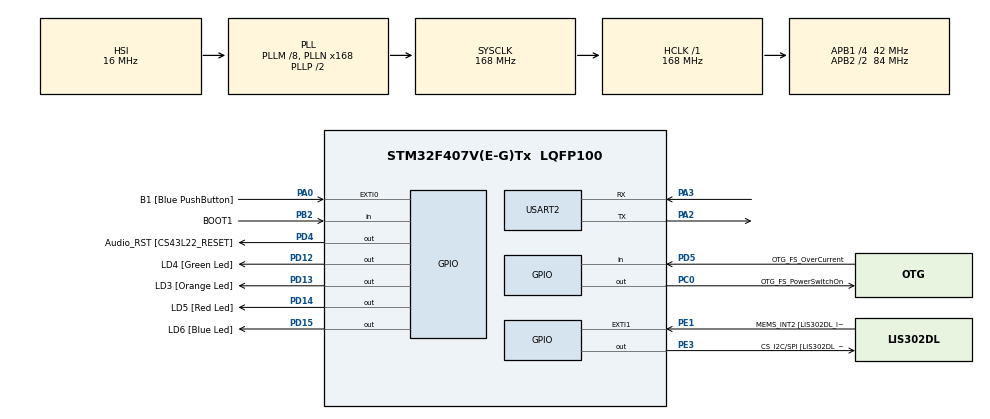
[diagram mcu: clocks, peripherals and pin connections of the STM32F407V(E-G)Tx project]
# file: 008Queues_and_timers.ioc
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Mcu.Family=STM32F4
Mcu.Name=STM32F407V(E-G)Tx
Mcu.Package=LQFP100
NVIC.PriorityGroup=NVIC_PRIORITYGROUP_4
NVIC.TIM6_DAC_IRQn=true\:0\:0\:false\:false\:true\:false\:true
NVIC.TimeBase=TIM6_DAC_IRQn
NVIC.TimeBaseIP=TIM6
NVIC.USART2_IRQn=true\:6\:0\:true\:false\:true\:true\:true
PA0-WKUP.GPIO_Label=B1 [Blue PushButton]
PA0-WKUP.Signal=GPXTI0
PA10.GPIO_Label=OTG_FS_ID
PA10.GPIO_Mode=GPIO_MODE_AF_PP
PA10.GPIO_PuPd=GPIO_NOPULL
PA10.GPIO_Speed=GPIO_SPEED_FREQ_LOW
PA10.Signal=USB_OTG_FS_ID
PA11.GPIO_Label=OTG_FS_DM
PA11.GPIO_Mode=GPIO_MODE_AF_PP
PA11.GPIO_PuPd=GPIO_NOPULL
PA11.GPIO_Speed=GPIO_SPEED_FREQ_LOW
PA11.Signal=USB_OTG_FS_DM
PA12.GPIO_Label=OTG_FS_DP
PA12.GPIO_Mode=GPIO_MODE_AF_PP
PA12.GPIO_PuPd=GPIO_NOPULL
PA12.GPIO_Speed=GPIO_SPEED_FREQ_LOW
PA12.Signal=USB_OTG_FS_DP
PA13.GPIO_Label=SWDIO
PA13.Signal=SYS_JTMS-SWDIO
PA14.GPIO_Label=SWCLK
PA14.Signal=SYS_JTCK-SWCLK
PA2.Mode=Asynchronous
PA2.Signal=USART2_TX
PA3.Mode=Asynchronous
PA3.Signal=USART2_RX
PA4.GPIO_Label=I2S3_WS [CS43L22_LRCK]
PA4.GPIO_Mode=GPIO_MODE_AF_PP
PA4.GPIO_PuPd=GPIO_NOPULL
PA4.GPIO_Speed=GPIO_SPEED_FREQ_LOW
PA4.Signal=I2S3_WS
PA5.GPIO_Label=SPI1_SCK [LIS302DL_SCL/SPC]
PA5.GPIO_Mode=GPIO_MODE_AF_PP
PA5.GPIO_PuPd=GPIO_NOPULL
PA5.GPIO_Speed=GPIO_SPEED_FREQ_LOW
PA5.Signal=SPI1_SCK
PA6.GPIO_Label=SPI1_MISO [LIS302DL_SDO]
PA6.GPIO_Mode=GPIO_MODE_AF_PP
PA6.GPIO_PuPd=GPIO_NOPULL
PA6.GPIO_Speed=GPIO_SPEED_FREQ_LOW
PA6.Signal=SPI1_MISO
PA7.GPIO_Label=SPI1_MOSI [LIS302DL_SDA/SDI/SDO]
PA7.GPIO_Mode=GPIO_MODE_AF_PP
PA7.GPIO_PuPd=GPIO_NOPULL
PA7.GPIO_Speed=GPIO_SPEED_FREQ_LOW
PA7.Signal=SPI1_MOSI
PA9.GPIO_Label=VBUS_FS
PA9.GPIO_Mode=GPIO_MODE_INPUT
PA9.GPIO_PuPd=GPIO_NOPULL
PA9.Signal=USB_OTG_FS_VBUS
PB10.GPIO_Label=CLK_IN [MP45DT02_CLK]
PB10.GPIO_Mode=GPIO_MODE_AF_PP
PB10.GPIO_PuPd=GPIO_NOPULL
PB10.GPIO_Speed=GPIO_SPEED_FREQ_LOW
PB10.Signal=I2S2_CK
PB2.GPIO_Label=BOOT1
PB2.GPIO_Mode=GPIO_MODE_INPUT
PB2.GPIO_PuPd=GPIO_NOPULL
PB2.Signal=GPIO_Input
PB3.GPIO_Label=SWO
PB3.Signal=SYS_JTDO-SWO
PB6.GPIO_Label=Audio_SCL [CS43L22_SCL]
PB6.GPIO_Mode=GPIO_MODE_AF_OD
PB6.GPIO_PuPd=GPIO_NOPULL
PB6.GPIO_Speed=GPIO_SPEED_FREQ_LOW
PB6.Signal=I2C1_SCL
PB9.GPIO_Label=Audio_SDA [CS43L22_SDA]
PB9.GPIO_Mode=GPIO_MODE_AF_OD
PB9.GPIO_PuPd=GPIO_NOPULL
PB9.GPIO_Speed=GPIO_SPEED_FREQ_LOW
PB9.Signal=I2C1_SDA
PC0.GPIO_Label=OTG_FS_PowerSwitchOn
PC0.GPIO_PuPd=GPIO_NOPULL
PC0.GPIO_Speed=GPIO_SPEED_FREQ_LOW
PC0.PinState=GPIO_PIN_SET
PC0.Signal=GPIO_Output
PC10.GPIO_Label=I2S3_SCK [CS43L22_SCLK]
PC10.GPIO_Mode=GPIO_MODE_AF_PP
PC10.GPIO_PuPd=GPIO_NOPULL
PC10.GPIO_Speed=GPIO_SPEED_FREQ_LOW
PC10.Signal=I2S3_CK
PC12.GPIO_Label=I2S3_SD [CS43L22_SDIN]
PC12.GPIO_Mode=GPIO_MODE_AF_PP
PC12.GPIO_PuPd=GPIO_NOPULL
PC12.GPIO_Speed=GPIO_SPEED_FREQ_LOW
PC12.Signal=I2S3_SD
PC14-OSC32_IN.GPIO_Label=PC14-OSC32_IN
PC14-OSC32_IN.Signal=RCC_OSC32_IN
PC15-OSC32_OUT.GPIO_Label=PC15-OSC32_OUT
PC15-OSC32_OUT.Signal=RCC_OSC32_OUT
PC3.GPIO_Label=PDM_OUT [MP45DT02_DOUT]
PC3.GPIO_Mode=GPIO_MODE_AF_PP
PC3.GPIO_PuPd=GPIO_NOPULL
PC3.GPIO_Speed=GPIO_SPEED_FREQ_LOW
PC3.Signal=I2S2_SD
PC7.GPIO_Label=I2S3_MCK [CS43L22_MCLK]
PC7.GPIO_Mode=GPIO_MODE_AF_PP
PC7.GPIO_PuPd=GPIO_NOPULL
PC7.GPIO_Speed=GPIO_SPEED_FREQ_LOW
PC7.Signal=I2S3_MCK
PD12.GPIO_Label=LD4 [Green Led]
PD12.GPIO_PuPd=GPIO_NOPULL
PD12.GPIO_Speed=GPIO_SPEED_FREQ_LOW
PD12.Signal=GPIO_Output
PD13.GPIO_Label=LD3 [Orange Led]
PD13.GPIO_PuPd=GPIO_NOPULL
PD13.GPIO_Speed=GPIO_SPEED_FREQ_LOW
PD13.Signal=GPIO_Output
PD14.GPIO_Label=LD5 [Red Led]
PD14.GPIO_PuPd=GPIO_NOPULL
PD14.GPIO_Speed=GPIO_SPEED_FREQ_LOW
PD14.Signal=GPIO_Output
PD15.GPIO_Label=LD6 [Blue Led]
PD15.GPIO_PuPd=GPIO_NOPULL
PD15.GPIO_Speed=GPIO_SPEED_FREQ_LOW
PD15.Signal=GPIO_Output
PD4.GPIO_Label=Audio_RST [CS43L22_RESET]
PD4.GPIO_PuPd=GPIO_NOPULL
PD4.GPIO_Speed=GPIO_SPEED_FREQ_LOW
PD4.Signal=GPIO_Output
PD5.GPIO_Label=OTG_FS_OverCurrent
PD5.GPIO_Mode=GPIO_MODE_INPUT
PD5.GPIO_PuPd=GPIO_NOPULL
PD5.Signal=GPIO_Input
PE1.GPIO_Label=MEMS_INT2 [LIS302DL_INT2]
PE1.GPIO_ModeDefaultEXTI=GPIO_MODE_EVT_RISING
PE1.GPIO_PuPd=GPIO_NOPULL
PE1.Signal=GPXTI1
PE3.GPIO_Label=CS_I2C/SPI [LIS302DL_CS_I2C/SPI]
PE3.GPIO_PuPd=GPIO_NOPULL
PE3.GPIO_Speed=GPIO_SPEED_FREQ_LOW
PE3.Signal=GPIO_Output
PH0-OSC_IN.GPIO_Label=PH0-OSC_IN
PH0-OSC_IN.Signal=RCC_OSC_IN
PH1-OSC_OUT.GPIO_Label=PH1-OSC_OUT
PH1-OSC_OUT.Signal=RCC_OSC_OUT
ProjectManager.HeapSize=0x200
ProjectManager.StackSize=0x400
ProjectManager.TargetToolchain=STM32CubeIDE
RCC.48MHZClocksFreq_Value=48000000
RCC.AHBFreq_Value=168000000
RCC.APB1CLKDivider=RCC_HCLK_DIV4
RCC.APB1Freq_Value=42000000
RCC.APB1TimFreq_Value=84000000
RCC.APB2CLKDivider=RCC_HCLK_DIV2
RCC.APB2Freq_Value=84000000
RCC.APB2TimFreq_Value=168000000
RCC.CortexFreq_Value=168000000
RCC.HCLKFreq_Value=168000000
RCC.HSE_VALUE=8000000
RCC.HSI_VALUE=16000000
RCC.LSE_VALUE=32768
RCC.PLLM=8
RCC.PLLN=168
RCC.PLLQ=7
RCC.SYSCLKFreq_VALUE=168000000
RCC.SYSCLKSource=RCC_SYSCLKSOURCE_PLLCLK
RCC.VCOOutputFreq_Value=336000000
RTC.HourFormat=RTC_HOURFORMAT_12
USART2.VirtualMode=VM_ASYNC
VP_RTC_VS_RTC_Activate.Mode=RTC_Enabled
VP_SYS_VS_tim6.Mode=TIM6
board=STM32F407G-DISC1

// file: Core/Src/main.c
/* USER CODE BEGIN Header */
/**
  ******************************************************************************
  * @file           : main.c
  * @brief          : Main program body
  ******************************************************************************
  * @attention
  *
  * Copyright (c) 2024 STMicroelectronics.
  * All rights reserved.
  *
  * This software is licensed under terms that can be found in the LICENSE file
  * in the root directory of this software component.
  * If no LICENSE file comes with this software, it is provided AS-IS.
  *
  ******************************************************************************
  */
/* USER CODE END Header */
#include "main.h"

RTC_HandleTypeDef hrtc;

UART_HandleTypeDef huart2;

/* USER CODE BEGIN PV */
TaskHandle_t handle_menu_task;
TaskHandle_t handle_cmd_task;
TaskHandle_t handle_print_task;
TaskHandle_t handle_led_task;
TaskHandle_t handle_rtc_task;

TimerHandle_t handle_led_timer[4];

QueueHandle_t q_data;
QueueHandle_t q_print;

//State variable
uint8_t current_state= sMainmenu;
volatile uint8_t user_data;

/* USER CODE END PV */

void SystemClock_Config(void);
static void MX_GPIO_Init(void);
static void MX_RTC_Init(void);
static void MX_USART2_UART_Init(void);
/* USER CODE BEGIN PFP */

void LED_effect(int n);

void LED_effect1(void);
void LED_effect2(void);
void LED_effect3(void);
void LED_effect4(void);

void led_effect_callback( TimerHandle_t xTimer);
/* USER CODE END PFP */

int main(void)
{
  /* USER CODE BEGIN 1 */
	BaseType_t status;
  /* USER CODE END 1 */

  /* MCU Configuration--------------------------------------------------------*/

  /* Reset of all peripherals, Initializes the Flash interface and the Systick. */
  HAL_Init();

  /* Configure the system clock */
  SystemClock_Config();

  /* Initialize all configured peripherals */
  MX_GPIO_Init();
  MX_RTC_Init();
  MX_USART2_UART_Init();
  /* USER CODE BEGIN 2 */

	status=xTaskCreate(menu_task, "menu_task", 250, NULL, 2, &handle_menu_task);

	configASSERT(status == pdPASS);

	status=xTaskCreate(cmd_handler_task, "cmd_task", 250, NULL, 2, &handle_cmd_task);

	configASSERT(status == pdPASS);

	status=xTaskCreate(print_task, "print_task", 250, NULL, 2, &handle_print_task);

	configASSERT(status == pdPASS);

	status=xTaskCreate(led_task, "led_task", 250, NULL, 2, &handle_led_task);

	configASSERT(status == pdPASS);

	//status=xTaskCreate(rtc_task, "rtc_task", 250, NULL, 2, &handle_rtc_task);

	//configASSERT(status == pdPASS);

	q_data= xQueueCreate(10,sizeof(char));

	configASSERT(q_data !=NULL);

	q_print= xQueueCreate(10,sizeof(size_t));

	configASSERT(q_print !=NULL);

	for (uint8_t i=0; i<4; i++)
		handle_led_timer[i]=xTimerCreate("led_timer", pdMS_TO_TICKS(500), pdTRUE, (void*)(i+1), led_effect_callback);

	HAL_UART_Receive_IT(&huart2, (uint8_t*)&user_data, 1);

	vTaskStartScheduler();

	/* USER CODE END 2 */

  /* Infinite loop */
  while (1)
  {

  }
}

void SystemClock_Config(void)
{
  RCC_OscInitTypeDef RCC_OscInitStruct = {0};
  RCC_ClkInitTypeDef RCC_ClkInitStruct = {0};

  /** Configure the main internal regulator output voltage
  */
  __HAL_RCC_PWR_CLK_ENABLE();
  __HAL_PWR_VOLTAGESCALING_CONFIG(PWR_REGULATOR_VOLTAGE_SCALE1);
  /** Initializes the RCC Oscillators according to the specified parameters
  * in the RCC_OscInitTypeDef structure.
  */
  RCC_OscInitStruct.OscillatorType = RCC_OSCILLATORTYPE_HSI|RCC_OSCILLATORTYPE_LSI;
  RCC_OscInitStruct.HSIState = RCC_HSI_ON;
  RCC_OscInitStruct.HSICalibrationValue = RCC_HSICALIBRATION_DEFAULT;
  RCC_OscInitStruct.LSIState = RCC_LSI_ON;
  RCC_OscInitStruct.PLL.PLLState = RCC_PLL_ON;
  RCC_OscInitStruct.PLL.PLLSource = RCC_PLLSOURCE_HSI;
  RCC_OscInitStruct.PLL.PLLM = 8;
  RCC_OscInitStruct.PLL.PLLN = 168;
  RCC_OscInitStruct.PLL.PLLP = RCC_PLLP_DIV2;
  RCC_OscInitStruct.PLL.PLLQ = 7;
  if (HAL_RCC_OscConfig(&RCC_OscInitStruct) != HAL_OK)
  {
    Error_Handler();
  }
  /** Initializes the CPU, AHB and APB buses clocks
  */
  RCC_ClkInitStruct.ClockType = RCC_CLOCKTYPE_HCLK|RCC_CLOCKTYPE_SYSCLK
                              |RCC_CLOCKTYPE_PCLK1|RCC_CLOCKTYPE_PCLK2;
  RCC_ClkInitStruct.SYSCLKSource = RCC_SYSCLKSOURCE_PLLCLK;
  RCC_ClkInitStruct.AHBCLKDivider = RCC_SYSCLK_DIV1;
  RCC_ClkInitStruct.APB1CLKDivider = RCC_HCLK_DIV4;
  RCC_ClkInitStruct.APB2CLKDivider = RCC_HCLK_DIV2;

  if (HAL_RCC_ClockConfig(&RCC_ClkInitStruct, FLASH_LATENCY_5) != HAL_OK)
  {
    Error_Handler();
  }
}

static void MX_RTC_Init(void)
{

  /** Initialize RTC Only
  */
  hrtc.Instance = RTC;
  hrtc.Init.HourFormat = RTC_HOURFORMAT_12;
  hrtc.Init.AsynchPrediv = 127;
  hrtc.Init.SynchPrediv = 255;
  hrtc.Init.OutPut = RTC_OUTPUT_DISABLE;
  hrtc.Init.OutPutPolarity = RTC_OUTPUT_POLARITY_HIGH;
  hrtc.Init.OutPutType = RTC_OUTPUT_TYPE_OPENDRAIN;
  if (HAL_RTC_Init(&hrtc) != HAL_OK)
  {
    Error_Handler();
  }

}

static void MX_USART2_UART_Init(void)
{

  huart2.Instance = USART2;
  huart2.Init.BaudRate = 115200;
  huart2.Init.WordLength = UART_WORDLENGTH_8B;
  huart2.Init.StopBits = UART_STOPBITS_1;
  huart2.Init.Parity = UART_PARITY_NONE;
  huart2.Init.Mode = UART_MODE_TX_RX;
  huart2.Init.HwFlowCtl = UART_HWCONTROL_NONE;
  huart2.Init.OverSampling = UART_OVERSAMPLING_16;
  if (HAL_UART_Init(&huart2) != HAL_OK)
  {
    Error_Handler();
  }

}

static void MX_GPIO_Init(void)
{
  GPIO_InitTypeDef GPIO_InitStruct = {0};

  /* GPIO Ports Clock Enable */
  __HAL_RCC_GPIOE_CLK_ENABLE();
  __HAL_RCC_GPIOC_CLK_ENABLE();
  __HAL_RCC_GPIOH_CLK_ENABLE();
  __HAL_RCC_GPIOA_CLK_ENABLE();
  __HAL_RCC_GPIOB_CLK_ENABLE();
  __HAL_RCC_GPIOD_CLK_ENABLE();

  /*Configure GPIO pin Output Level */
  HAL_GPIO_WritePin(CS_I2C_SPI_GPIO_Port, CS_I2C_SPI_Pin, GPIO_PIN_RESET);

  /*Configure GPIO pin Output Level */
  HAL_GPIO_WritePin(OTG_FS_PowerSwitchOn_GPIO_Port, OTG_FS_PowerSwitchOn_Pin, GPIO_PIN_SET);

  /*Configure GPIO pin Output Level */
  HAL_GPIO_WritePin(GPIOD, LD4_Pin|LD3_Pin|LD5_Pin|LD6_Pin
                          |Audio_RST_Pin, GPIO_PIN_RESET);

  /*Configure GPIO pin : CS_I2C_SPI_Pin */
  GPIO_InitStruct.Pin = CS_I2C_SPI_Pin;
  GPIO_InitStruct.Mode = GPIO_MODE_OUTPUT_PP;
  GPIO_InitStruct.Pull = GPIO_NOPULL;
  GPIO_InitStruct.Speed = GPIO_SPEED_FREQ_LOW;
  HAL_GPIO_Init(CS_I2C_SPI_GPIO_Port, &GPIO_InitStruct);

  /*Configure GPIO pin : OTG_FS_PowerSwitchOn_Pin */
  GPIO_InitStruct.Pin = OTG_FS_PowerSwitchOn_Pin;
  GPIO_InitStruct.Mode = GPIO_MODE_OUTPUT_PP;
  GPIO_InitStruct.Pull = GPIO_NOPULL;
  GPIO_InitStruct.Speed = GPIO_SPEED_FREQ_LOW;
  HAL_GPIO_Init(OTG_FS_PowerSwitchOn_GPIO_Port, &GPIO_InitStruct);

  /*Configure GPIO pin : PDM_OUT_Pin */
  GPIO_InitStruct.Pin = PDM_OUT_Pin;
  GPIO_InitStruct.Mode = GPIO_MODE_AF_PP;
  GPIO_InitStruct.Pull = GPIO_NOPULL;
  GPIO_InitStruct.Speed = GPIO_SPEED_FREQ_LOW;
  GPIO_InitStruct.Alternate = GPIO_AF5_SPI2;
  HAL_GPIO_Init(PDM_OUT_GPIO_Port, &GPIO_InitStruct);

  /*Configure GPIO pin : B1_Pin */
  GPIO_InitStruct.Pin = B1_Pin;
  GPIO_InitStruct.Mode = GPIO_MODE_IT_RISING;
  GPIO_InitStruct.Pull = GPIO_NOPULL;
  HAL_GPIO_Init(B1_GPIO_Port, &GPIO_InitStruct);

  /*Configure GPIO pin : I2S3_WS_Pin */
  GPIO_InitStruct.Pin = I2S3_WS_Pin;
  GPIO_InitStruct.Mode = GPIO_MODE_AF_PP;
  GPIO_InitStruct.Pull = GPIO_NOPULL;
  GPIO_InitStruct.Speed = GPIO_SPEED_FREQ_LOW;
  GPIO_InitStruct.Alternate = GPIO_AF6_SPI3;
  HAL_GPIO_Init(I2S3_WS_GPIO_Port, &GPIO_InitStruct);

  /*Configure GPIO pins : SPI1_SCK_Pin SPI1_MISO_Pin SPI1_MOSI_Pin */
  GPIO_InitStruct.Pin = SPI1_SCK_Pin|SPI1_MISO_Pin|SPI1_MOSI_Pin;
  GPIO_InitStruct.Mode = GPIO_MODE_AF_PP;
  GPIO_InitStruct.Pull = GPIO_NOPULL;
  GPIO_InitStruct.Speed = GPIO_SPEED_FREQ_LOW;
  GPIO_InitStruct.Alternate = GPIO_AF5_SPI1;
  HAL_GPIO_Init(GPIOA, &GPIO_InitStruct);

  /*Configure GPIO pin : BOOT1_Pin */
  GPIO_InitStruct.Pin = BOOT1_Pin;
  GPIO_InitStruct.Mode = GPIO_MODE_INPUT;
  GPIO_InitStruct.Pull = GPIO_NOPULL;
  HAL_GPIO_Init(BOOT1_GPIO_Port, &GPIO_InitStruct);

  /*Configure GPIO pin : CLK_IN_Pin */
  GPIO_InitStruct.Pin = CLK_IN_Pin;
  GPIO_InitStruct.Mode = GPIO_MODE_AF_PP;
  GPIO_InitStruct.Pull = GPIO_NOPULL;
  GPIO_InitStruct.Speed = GPIO_SPEED_FREQ_LOW;
  GPIO_InitStruct.Alternate = GPIO_AF5_SPI2;
  HAL_GPIO_Init(CLK_IN_GPIO_Port, &GPIO_InitStruct);

  /*Configure GPIO pins : LD4_Pin LD3_Pin LD5_Pin LD6_Pin
                           Audio_RST_Pin */
  GPIO_InitStruct.Pin = LD4_Pin|LD3_Pin|LD5_Pin|LD6_Pin
                          |Audio_RST_Pin;
  GPIO_InitStruct.Mode = GPIO_MODE_OUTPUT_PP;
  GPIO_InitStruct.Pull = GPIO_NOPULL;
  GPIO_InitStruct.Speed = GPIO_SPEED_FREQ_LOW;
  HAL_GPIO_Init(GPIOD, &GPIO_InitStruct);

  /*Configure GPIO pins : I2S3_MCK_Pin I2S3_SCK_Pin I2S3_SD_Pin */
  GPIO_InitStruct.Pin = I2S3_MCK_Pin|I2S3_SCK_Pin|I2S3_SD_Pin;
  GPIO_InitStruct.Mode = GPIO_MODE_AF_PP;
  GPIO_InitStruct.Pull = GPIO_NOPULL;
  GPIO_InitStruct.Speed = GPIO_SPEED_FREQ_LOW;
  GPIO_InitStruct.Alternate = GPIO_AF6_SPI3;
  HAL_GPIO_Init(GPIOC, &GPIO_InitStruct);

  /*Configure GPIO pin : VBUS_FS_Pin */
  GPIO_InitStruct.Pin = VBUS_FS_Pin;
  GPIO_InitStruct.Mode = GPIO_MODE_INPUT;
  GPIO_InitStruct.Pull = GPIO_NOPULL;
  HAL_GPIO_Init(VBUS_FS_GPIO_Port, &GPIO_InitStruct);

  /*Configure GPIO pins : OTG_FS_ID_Pin OTG_FS_DM_Pin OTG_FS_DP_Pin */
  GPIO_InitStruct.Pin = OTG_FS_ID_Pin|OTG_FS_DM_Pin|OTG_FS_DP_Pin;
  GPIO_InitStruct.Mode = GPIO_MODE_AF_PP;
  GPIO_InitStruct.Pull = GPIO_NOPULL;
  GPIO_InitStruct.Speed = GPIO_SPEED_FREQ_LOW;
  GPIO_InitStruct.Alternate = GPIO_AF10_OTG_FS;
  HAL_GPIO_Init(GPIOA, &GPIO_InitStruct);

  /*Configure GPIO pin : OTG_FS_OverCurrent_Pin */
  GPIO_InitStruct.Pin = OTG_FS_OverCurrent_Pin;
  GPIO_InitStruct.Mode = GPIO_MODE_INPUT;
  GPIO_InitStruct.Pull = GPIO_NOPULL;
  HAL_GPIO_Init(OTG_FS_OverCurrent_GPIO_Port, &GPIO_InitStruct);

  /*Configure GPIO pins : Audio_SCL_Pin Audio_SDA_Pin */
  GPIO_InitStruct.Pin = Audio_SCL_Pin|Audio_SDA_Pin;
  GPIO_InitStruct.Mode = GPIO_MODE_AF_OD;
  GPIO_InitStruct.Pull = GPIO_NOPULL;
  GPIO_InitStruct.Speed = GPIO_SPEED_FREQ_LOW;
  GPIO_InitStruct.Alternate = GPIO_AF4_I2C1;
  HAL_GPIO_Init(GPIOB, &GPIO_InitStruct);

  /*Configure GPIO pin : MEMS_INT2_Pin */
  GPIO_InitStruct.Pin = MEMS_INT2_Pin;
  GPIO_InitStruct.Mode = GPIO_MODE_EVT_RISING;
  GPIO_InitStruct.Pull = GPIO_NOPULL;
  HAL_GPIO_Init(MEMS_INT2_GPIO_Port, &GPIO_InitStruct);

}

/* USER CODE BEGIN 4 */

void led_effect_callback( TimerHandle_t xTimer)
{
	int id;
	id= (uint32_t)pvTimerGetTimerID(xTimer);

	switch(id)
	{
	case 1:
      LED_effect1();
      break;
	case 2:
	  LED_effect2();
	  break;
	case 3:
	  LED_effect3();
      break;
	case 4:
	  LED_effect4();

	}
}
void HAL_UART_RxCpltCallback(UART_HandleTypeDef *huart)
{

	uint8_t dummy;

	if(!xQueueIsQueueFullFromISR(q_data))
	{
		/*Queue is not full */

		/*TODO: Enqueue data byte */
		xQueueSendFromISR(q_data,(void*)&user_data,NULL);

	}else{
		/*Queue is full */

		if(user_data== '\n')
		{
			/*user_data = '\n' */

			/*TODO: make sure that last data byte of the queue is '\n' */
			xQueueReceiveFromISR(q_data, (void*)&dummy, NULL);
			xQueueSendFromISR(q_data,(void*)&user_data,NULL);
		}
	}

	/*TODO: send notification to command handling task if user_data = '\n' */
	if(user_data== '\n')
	{

		xTaskNotifyFromISR(handle_cmd_task,0,eNoAction,NULL);
	}

	/* TODO: Enable UART data byte reception again in IT mode */
	HAL_UART_Receive_IT(&huart2, (uint8_t*)&user_data, 1);
}

/* USER CODE END 4 */

void HAL_TIM_PeriodElapsedCallback(TIM_HandleTypeDef *htim)
{
  if (htim->Instance == TIM6) {
    HAL_IncTick();
  }
}

void Error_Handler(void)
{
  __disable_irq();
  while (1)
  {
  }
}
